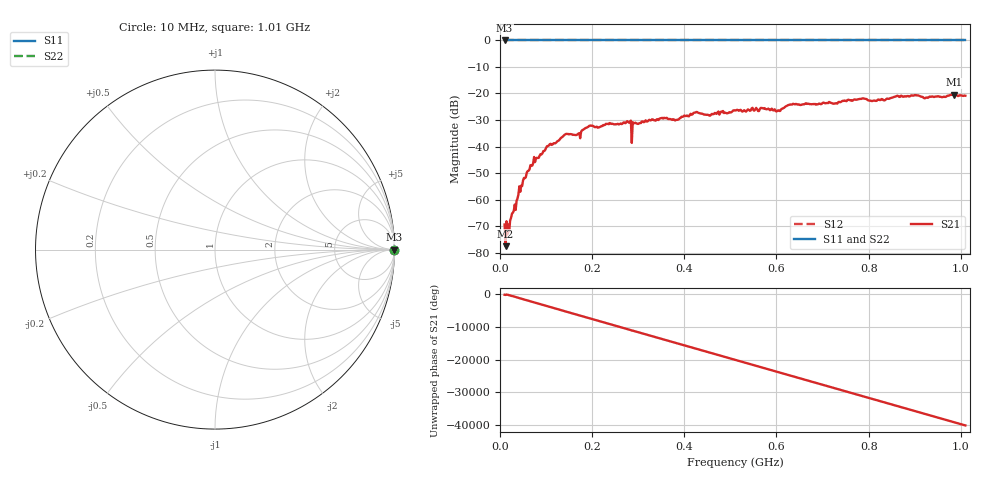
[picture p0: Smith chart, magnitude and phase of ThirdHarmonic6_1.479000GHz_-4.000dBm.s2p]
! 8/16/2025 5:16:26 PM
! C:\ANRITSUVNA\TEMP\TEMP.S2P
! CHANNEL.1
! TR.MEASUREMENT
! RAW.DATA
! RF.CORRECTION.OFF
! AVERAGING.OFF
! IF.BANDWIDTH: 5KHZ
! SWEEPTYPE:  FREQ.SWEEP(Linear)
! Reference Plane Port Info
! PORT:  PORT1  PORT2
! DISTANCE:  0  m  0  m
! TIME:  0  s  0  s
! PHASE.OFFSET:  0  deg.  0  deg.
! LOSS:  0  dB  0  dB
! REF.LOSS:  0  dB  0  dB
! REF.FREQ:  0  Hz  0  Hz
! Power Info
! POWER:  -20  dBm  -20  dBm
! EFF.POWER:  -20  dBm  -20  dBm
! SOURCE.ATTEN:  0  dB  0  dB
! TEST.ATTEN:  0  dB  0  dB
# GHZ S RI R 50.0
! FREQ.GHZ  S11RE  S11IM  S21RE  S21IM  S12RE  S12IM  S22RE  S22IM
!; PortSelection: Port_12
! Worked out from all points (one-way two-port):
!   501 points, 10 MHz to 1.01 GHz, reference 50 ohm
!   highest |S21| = -20.48 dB at 986 MHz (marker M1); lowest = -77.6 dB at 12 MHz (marker M2)
!   lowest |S11| = 0.0 dB at 10 MHz (marker M3)
!   |S11| at or under -10 dB: nowhere
!   |S22| runs from 0.0 to 0.0 dB; largest |S21 - S12| = 1.1
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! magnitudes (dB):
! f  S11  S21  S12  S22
! 10 MHz  0.0  -69.4  0.0  0.0
! 12 MHz  0.0  -77.6  0.0  0.0
! 16 MHz  0.0  -73.2  0.0  0.0
! 50 MHz  0.0  -52.8  0.0  0.0
! 76 MHz  0.0  -45.9  0.0  0.0
! 106 MHz  0.0  -39.6  0.0  0.0
! 140 MHz  0.0  -35.6  0.0  0.0
! 178 MHz  0.0  -33.9  0.0  0.0
! 196 MHz  0.0  -32.1  0.0  0.0
! 280 MHz  0.0  -31.1  0.0  0.0
! 282 MHz  0.0  -30.6  0.0  0.0
! 290 MHz  0.0  -31.2  0.0  0.0
! 292 MHz  0.0  -31.2  0.0  0.0
! 344 MHz  0.0  -30.0  0.0  0.0
! 384 MHz  0.0  -29.9  0.0  0.0
! 510 MHz  0.0  -26.4  0.0  0.0
! 604 MHz  0.0  -26.4  0.0  0.0
! 632 MHz  0.0  -24.2  0.0  0.0
! 678 MHz  0.0  -24.0  0.0  0.0
! 844 MHz  0.0  -22.0  0.0  0.0
! 986 MHz  0.0  -20.5  0.0  0.0
! 1.01 GHz  0.0  -20.8  0.0  0.0
